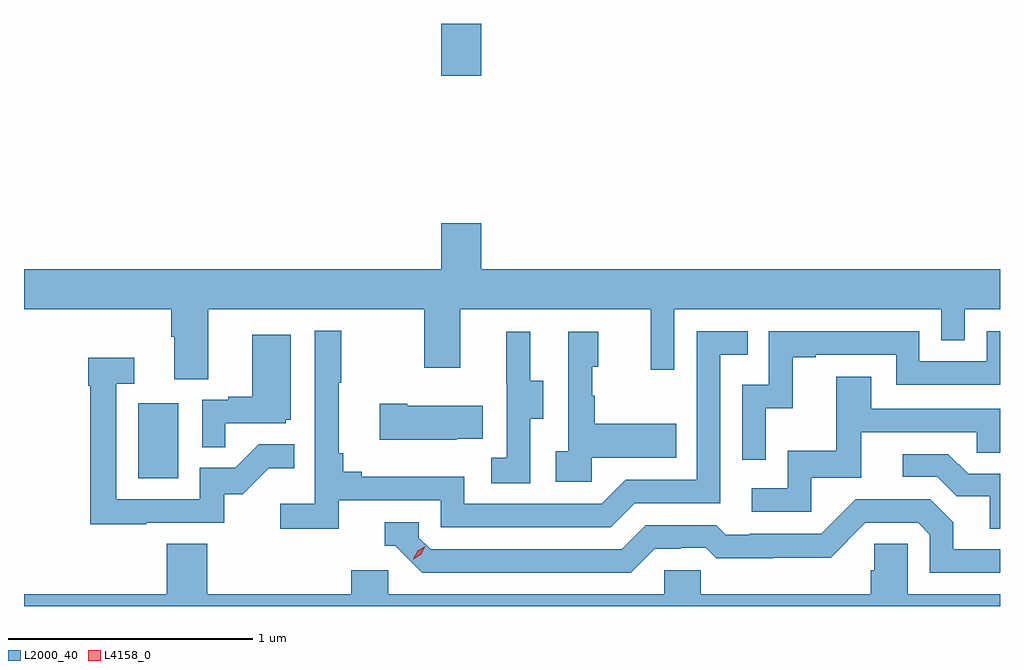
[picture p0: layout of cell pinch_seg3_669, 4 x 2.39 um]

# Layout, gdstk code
import gdstk
lib = gdstk.Library(unit=1e-6, precision=1e-09)
def R(c, l, rs):  # rectangles x0, y0, x1, y1
    for r in rs: c.add(gdstk.rectangle(r[:2], r[2:], *l))
def P(c, l, *ps):  # polygons
    for p in ps: c.add(gdstk.Polygon(p, *l))
L2000_40 = (2000, 40)
L4158_0 = (4158, 0)

pinch_seg3_669 = lib.new_cell('pinch_seg3_669')
R(pinch_seg3_669, L2000_40, [(1134.794,666.924,1134.958,667.231), (1136.036,668.574,1136.2,668.786)])
P(pinch_seg3_669, L2000_40, [(1135.081,667.616),(1135.966,667.616),(1135.966,667.377),(1136.113,667.377),(1136.113,667.616),(1136.894,667.616),(1136.894,667.368),(1136.991,667.368),(1136.991,667.616),(1138.086,667.616),(1138.086,667.489),(1138.182,667.489),(1138.182,667.616),(1138.326,667.616),(1138.326,667.78),(1136.2,667.78),(1136.2,667.969),(1136.036,667.969),(1136.036,667.78),(1134.326,667.78),(1134.326,667.616),(1134.929,667.616),(1134.929,667.504),(1134.941,667.504),(1134.941,667.33),(1135.081,667.33)],
  [(1135.616,666.834),(1136.034,666.834),(1136.034,666.723),(1136.731,666.723),(1136.83,666.822),(1137.18,666.822),(1137.18,667.431),(1137.293,667.431),(1137.293,667.527),(1137.084,667.527),(1137.084,666.918),(1136.793,666.918),(1136.694,666.819),(1136.13,666.819),(1136.13,666.931),(1135.711,666.931),(1135.711,666.95),(1135.634,666.95),(1135.634,667.027),(1135.615,667.027),(1135.615,667.315),(1135.627,667.315),(1135.627,667.528),(1135.518,667.528),(1135.518,666.82),(1135.377,666.82),(1135.377,666.718),(1135.616,666.718)],
  [(1137.366,667.211),(1137.476,667.211),(1137.476,667.419),(1137.571,667.419),(1137.571,667.431),(1137.9,667.431),(1137.9,667.308),(1138.326,667.308),(1138.326,667.527),(1138.272,667.527),(1138.272,667.404),(1137.996,667.404),(1137.996,667.527),(1137.378,667.527),(1137.378,667.308),(1137.27,667.308),(1137.27,666.999),(1137.366,666.999)],
  [(1136.4,667.168),(1136.455,667.168),(1136.455,667.323),(1136.401,667.323),(1136.401,667.525),(1136.303,667.525),(1136.303,667.311),(1136.304,667.311),(1136.304,667.007),(1136.241,667.007),(1136.241,666.904),(1136.4,666.904)],
  [(1136.652,667.007),(1136.999,667.007),(1136.999,667.147),(1136.665,667.147),(1136.665,667.262),(1136.655,667.262),(1136.655,667.38),(1136.68,667.38),(1136.68,667.525),(1136.556,667.525),(1136.556,667.034),(1136.505,667.034),(1136.505,666.909),(1136.652,666.909)],
  [(1135.151,667.149),(1135.398,667.149),(1135.398,667.164),(1135.42,667.164),(1135.42,667.513),(1135.262,667.513),(1135.262,667.258),(1135.163,667.258),(1135.163,667.245),(1135.056,667.245),(1135.056,667.051),(1135.151,667.051)],
  [(1134.827,666.741),(1135.146,666.741),(1135.146,666.858),(1135.222,666.858),(1135.329,666.965),(1135.433,666.965),(1135.433,667.064),(1135.289,667.064),(1135.191,666.966),(1135.047,666.966),(1135.047,666.837),(1134.705,666.837),(1134.705,667.311),(1134.778,667.311),(1134.778,667.417),(1134.589,667.417),(1134.589,667.304),(1134.597,667.304),(1134.597,666.736),(1134.827,666.736)],
  [(1137.552,666.927),(1137.757,666.927),(1137.757,667.113),(1138.231,667.113),(1138.231,667.029),(1138.326,667.029),(1138.326,667.209),(1137.799,667.209),(1137.799,667.339),(1137.655,667.339),(1137.655,667.036),(1137.456,667.036),(1137.456,666.882),(1137.309,666.882),(1137.309,666.786),(1137.552,666.786)],
  [(1136.099,667.085),(1136.207,667.085),(1136.207,667.222),(1135.897,667.222),(1135.897,667.23),(1135.785,667.23),(1135.785,667.082),(1136.099,667.082)],
  [(1138.326,666.942),(1138.195,666.942),(1138.114,667.023),(1137.927,667.023),(1137.927,666.93),(1138.068,666.93),(1138.148,666.85),(1138.283,666.85),(1138.283,666.718),(1138.326,666.718)],
  [(1136.911,666.636),(1137.018,666.636),(1137.018,666.639),(1137.121,666.639),(1137.163,666.597),(1137.396,666.597),(1137.396,666.599),(1137.632,666.599),(1137.774,666.741),(1137.99,666.741),(1138.038,666.693),(1138.038,666.537),(1138.326,666.537),(1138.326,666.633),(1138.135,666.633),(1138.135,666.743),(1138.041,666.837),(1137.735,666.837),(1137.594,666.696),(1137.301,666.696),(1137.301,666.693),(1137.202,666.693),(1137.163,666.732),(1136.874,666.732),(1136.775,666.633),(1135.992,666.633),(1135.944,666.681),(1135.944,666.744),(1135.805,666.744),(1135.805,666.648),(1135.848,666.648),(1135.959,666.537),(1136.812,666.537)],
  [(1138.326,666.448),(1137.948,666.448),(1137.948,666.656),(1137.811,666.656),(1137.811,666.546),(1137.797,666.546),(1137.797,666.448),(1137.099,666.448),(1137.099,666.546),(1136.949,666.546),(1136.949,666.448),(1135.818,666.448),(1135.818,666.546),(1135.667,666.546),(1135.667,666.448),(1135.076,666.448),(1135.076,666.656),(1134.911,666.656),(1134.911,666.448),(1134.326,666.448),(1134.326,666.4),(1138.326,666.4)])
P(pinch_seg3_669, L4158_0, [(1135.922,666.593),(1135.922,666.594),(1135.939,666.626),(1135.97,666.646),(1135.97,666.646),(1135.97,666.646),(1135.954,666.613),(1135.923,666.593)])

lib.write_gds('pinch_seg3_669.gds')
